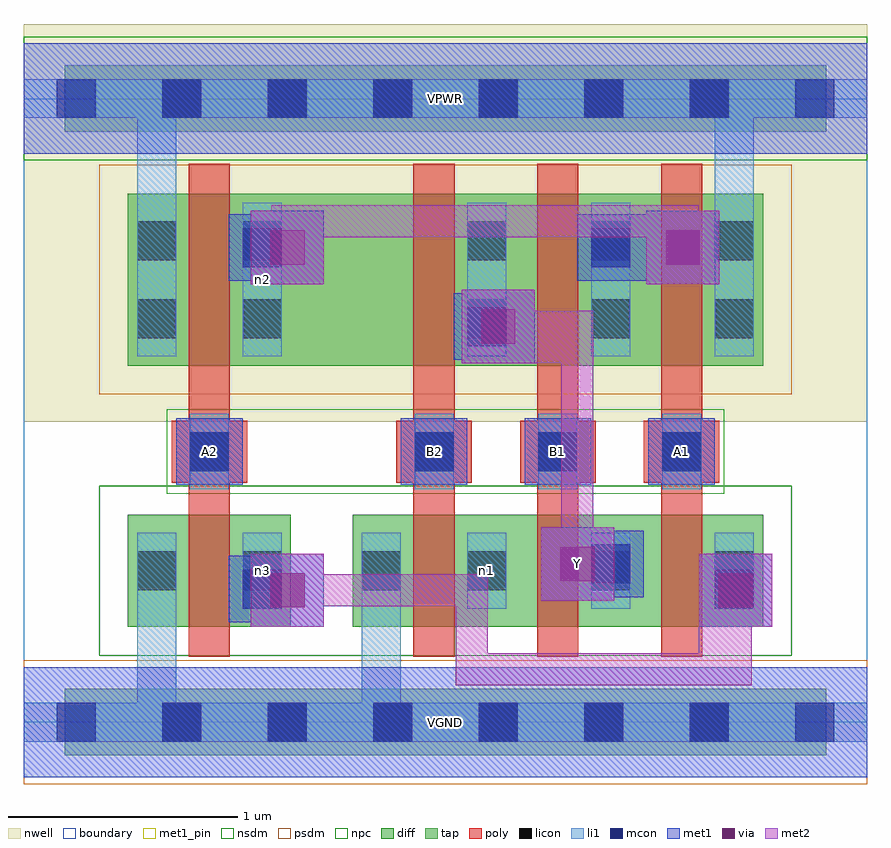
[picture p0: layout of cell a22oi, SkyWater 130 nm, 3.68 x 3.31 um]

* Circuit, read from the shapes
.subckt a22oi A1 A2 B1 B2 VGND VPWR Y n1 n2 n3
XM1 n3 A2 VGND VGND sky130_fd_pr__nfet_01v8 w=0.49 l=0.18
XM2 n1 B2 VGND VGND sky130_fd_pr__nfet_01v8 w=0.49 l=0.18
XM3 Y B1 n1 VGND sky130_fd_pr__nfet_01v8 w=0.49 l=0.18
XM4 n3 A1 Y VGND sky130_fd_pr__nfet_01v8 w=0.49 l=0.18
XM5 n2 A2 VPWR VPWR sky130_fd_pr__pfet_01v8 w=0.75 l=0.18
XM6 Y B2 n2 VPWR sky130_fd_pr__pfet_01v8 w=0.75 l=0.18
XM7 n2 B1 Y VPWR sky130_fd_pr__pfet_01v8 w=0.75 l=0.18
XM8 VPWR A1 n2 VPWR sky130_fd_pr__pfet_01v8 w=0.75 l=0.18
.ends

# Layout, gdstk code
import gdstk
lib = gdstk.Library(unit=1e-6, precision=1e-09)
def R(c, l, rs):  # rectangles x0, y0, x1, y1
    for r in rs: c.add(gdstk.rectangle(r[:2], r[2:], *l))
def A(c, l, x, y, w, h, nx, ny, dx, dy):  # array of equal rectangles
    R(c, l, [(x+i*dx, y+j*dy, x+i*dx+w, y+j*dy+h) for i in range(nx) for j in range(ny)])
nwell = (64, 20)
diff = (65, 20)
tap = (65, 44)
poly = (66, 20)
licon = (66, 44)
li1 = (67, 20)
mcon = (67, 44)
met1_pin = (68, 16)
met1 = (68, 20)
via = (68, 44)
met2 = (69, 20)
nsdm = (93, 44)
psdm = (94, 20)
npc = (95, 20)
boundary = (235, 4)

a22oi = lib.new_cell('a22oi')
R(a22oi, nwell, [(0,1.31,3.68,3.045)])
R(a22oi, diff, [(0.455,0.415,1.165,0.905), (1.435,0.415,3.225,0.905), (0.455,1.555,3.225,2.305)])
R(a22oi, tap, [(0.18,-0.145,3.5,0.145), (0.18,2.575,3.5,2.865)])
A(a22oi, poly, 1.7, 0.285, 0.18, 2.15, 3, 1, 0.54, 0)
A(a22oi, poly, 1.625, 1.045, 0.33, 0.27, 3, 1, 0.54, 0)
R(a22oi, poly, [(0.72,0.285,0.9,2.435), (0.645,1.045,0.975,1.315)])
A(a22oi, licon, 0.605, -0.085, 0.17, 0.17, 6, 2, 0.46, 2.72)
A(a22oi, licon, 1.935, 0.575, 0.17, 0.17, 3, 2, 0.54, 1.1)
A(a22oi, licon, 1.705, 1.095, 0.17, 0.17, 3, 1, 0.54, 0)
A(a22oi, licon, 1.935, 2.015, 0.17, 0.17, 3, 1, 0.54, 0)
R(a22oi, licon, [(0.495,0.575,0.665,0.745), (0.955,0.575,1.125,0.745), (1.475,0.575,1.645,0.745), (0.725,1.095,0.895,1.265), (0.495,1.675,0.665,1.845), (0.955,1.675,1.125,1.845), (0.495,2.015,0.665,2.185), (0.955,2.015,1.125,2.185)])
A(a22oi, li1, 1.935, 0.495, 0.17, 0.33, 3, 1, 0.54, 0)
A(a22oi, li1, 1.705, 1.015, 0.17, 0.33, 3, 1, 0.54, 0)
A(a22oi, li1, 1.935, 1.595, 0.17, 0.67, 3, 1, 0.54, 0)
R(a22oi, li1, [(0,-0.085,3.68,0.085), (0.495,-0.085,0.665,0.825), (1.475,-0.085,1.645,0.825), (0.495,0.495,0.665,0.825), (0.955,0.495,1.125,0.825), (1.475,0.495,1.645,0.825), (0.725,1.015,0.895,1.345), (0.495,1.595,0.665,2.265), (0.495,1.595,0.665,2.805), (0.955,1.595,1.125,2.265), (3.015,1.595,3.185,2.805), (0,2.635,3.68,2.805)])
A(a22oi, mcon, 0.145, -0.085, 0.17, 0.17, 8, 2, 0.46, 2.72)
A(a22oi, mcon, 1.705, 1.095, 0.17, 0.17, 3, 1, 0.54, 0)
R(a22oi, mcon, [(0.955,0.495,1.125,0.665), (3.015,0.495,3.185,0.665), (2.475,0.605,2.645,0.775), (0.725,1.095,0.895,1.265), (1.935,1.64,2.105,1.81), (0.955,1.985,1.125,2.155), (2.475,1.985,2.645,2.155)])
A(a22oi, met1_pin, 1.645, 1.035, 0.29, 0.29, 3, 1, 0.54, 0)
R(a22oi, met1_pin, [(0,-0.24,3.68,0.24), (2.255,0.53,2.575,0.85), (0.665,1.035,0.955,1.325), (0,2.48,3.68,2.96)])
A(a22oi, met1, 1.645, 1.035, 0.29, 0.29, 3, 1, 0.54, 0)
R(a22oi, met1, [(0,-0.24,3.68,0.24), (0.99,0.415,1.31,0.735), (2.945,0.415,3.265,0.735), (0.895,0.435,1.185,0.725), (2.955,0.435,3.245,0.725), (1.08,0.505,1.22,0.65), (3.035,0.505,3.175,0.65), (0.97,0.51,1.22,0.65), (3.03,0.51,3.175,0.65), (2.255,0.53,2.575,0.85), (2.415,0.545,2.705,0.835), (2.345,0.62,2.63,0.76), (0.665,1.035,0.955,1.325), (1.91,1.565,2.23,1.885), (1.875,1.58,2.165,1.87), (1.95,1.655,2.14,1.795), (0.99,1.91,1.31,2.23), (2.715,1.91,3.035,2.23), (0.895,1.925,1.185,2.215), (2.415,1.925,2.705,2.215), (2.705,1.925,2.715,2.215), (0.97,2,1.22,2.14), (2.49,2,2.83,2.14), (2.69,2,2.945,2.14), (0,2.48,3.68,2.96)])
R(a22oi, via, [(1.075,0.5,1.225,0.65), (3.03,0.5,3.18,0.65), (2.34,0.615,2.49,0.765), (1.995,1.65,2.145,1.8), (1.075,1.995,1.225,2.145), (2.8,1.995,2.95,2.145)])
R(a22oi, met2, [(1.885,0.16,2.025,0.645), (1.885,0.16,3.175,0.3), (3.035,0.16,3.175,0.645), (2.945,0.3,3.175,0.415), (0.99,0.415,1.31,0.735), (2.945,0.415,3.265,0.735), (1.08,0.505,2.025,0.645), (2.255,0.53,2.575,0.85), (2.345,0.62,2.485,1.795), (1.91,1.565,2.23,1.885), (2.23,1.565,2.345,1.795), (2,1.655,2.485,1.795), (0.99,1.91,1.31,2.23), (2.715,1.91,3.035,2.23), (1.08,2,1.22,2.255), (2.805,2,2.945,2.255), (1.08,2.115,2.945,2.255)])
R(a22oi, nsdm, [(0.33,0.29,3.35,1.03), (0,2.45,3.68,2.99)])
R(a22oi, psdm, [(0,-0.27,3.68,0.27), (0.33,1.43,3.35,2.43)])
R(a22oi, npc, [(0.625,0.995,3.055,1.365)])
R(a22oi, boundary, [(0,0,3.68,2.72)])
a22oi.add(gdstk.Label('n2', (1.04,1.93), layer=67, texttype=5))
a22oi.add(gdstk.Label('n3', (1.04,0.66), layer=67, texttype=5))
a22oi.add(gdstk.Label('n1', (2.02,0.66), layer=67, texttype=5))
a22oi.add(gdstk.Label('A1', (2.87,1.18), layer=68, texttype=5))
a22oi.add(gdstk.Label('A2', (0.81,1.18), layer=68, texttype=5))
a22oi.add(gdstk.Label('B1', (2.33,1.18), layer=68, texttype=5))
a22oi.add(gdstk.Label('B2', (1.79,1.18), layer=68, texttype=5))
a22oi.add(gdstk.Label('Y', (2.415,0.69), layer=68, texttype=5))
a22oi.add(gdstk.Label('VPWR', (1.84,2.72), layer=68, texttype=5))
a22oi.add(gdstk.Label('VGND', (1.84,0), layer=68, texttype=5))
a22oi.add(gdstk.Label('A1', (2.87,1.18), layer=68, texttype=16))
a22oi.add(gdstk.Label('A2', (0.81,1.18), layer=68, texttype=16))
a22oi.add(gdstk.Label('B1', (2.33,1.18), layer=68, texttype=16))
a22oi.add(gdstk.Label('B2', (1.79,1.18), layer=68, texttype=16))
a22oi.add(gdstk.Label('Y', (2.415,0.69), layer=68, texttype=16))
a22oi.add(gdstk.Label('VPWR', (1.84,2.72), layer=68, texttype=16))
a22oi.add(gdstk.Label('VGND', (1.84,0), layer=68, texttype=16))

lib.write_gds('a22oi.gds')
